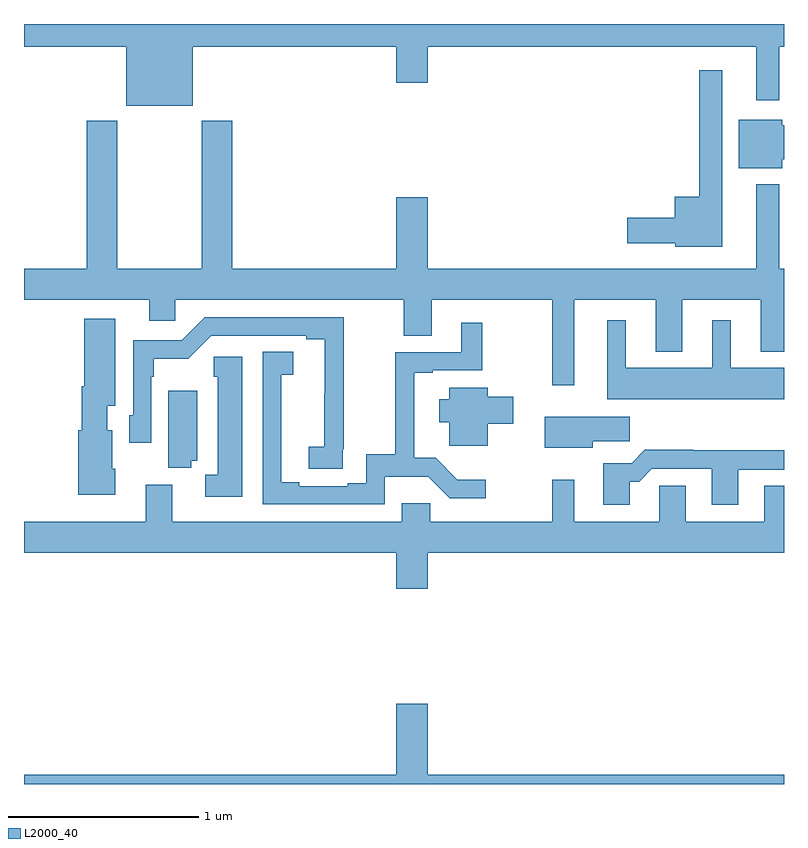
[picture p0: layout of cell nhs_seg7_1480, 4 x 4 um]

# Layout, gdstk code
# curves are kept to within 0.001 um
import gdstk
lib = gdstk.Library(unit=1e-6, precision=1e-09)
def P(c, l, *ps):  # polygons
    for p in ps: c.add(gdstk.Polygon(p, *l))
L2000_40 = (2000, 40)

nhs_seg7_1480 = lib.new_cell('nhs_seg7_1480')
P(nhs_seg7_1480, L2000_40, [(211,1069.88),(211.538,1069.88),(211.538,1069.571),(211.888,1069.571),(211.888,1069.88),(212.96,1069.88),(212.96,1069.692),(213.124,1069.692),(213.124,1069.88),(214.853,1069.88),(214.853,1069.599),(214.975,1069.599),(214.975,1069.88),(215,1069.88),(215,1070),(211,1070)],
  [(214.675,1069.756),(214.554,1069.756),(214.554,1069.09),(214.424,1069.09),(214.424,1068.98),(214.176,1068.98),(214.176,1068.845),(214.428,1068.845),(214.428,1068.827),(214.675,1068.827)],
  [(214.99,1069.289),(215,1069.289),(215,1069.467),(214.99,1069.467),(214.99,1069.495),(214.763,1069.495),(214.763,1069.241),(214.99,1069.241)],
  [(213.895,1068.548),(214.325,1068.548),(214.325,1068.275),(214.465,1068.275),(214.465,1068.548),(214.877,1068.548),(214.877,1068.275),(215,1068.275),(215,1068.712),(214.975,1068.712),(214.975,1069.156),(214.853,1069.156),(214.853,1068.712),(213.124,1068.712),(213.124,1069.087),(212.96,1069.087),(212.96,1068.712),(212.096,1068.712),(212.096,1069.492),(211.936,1069.492),(211.936,1068.712),(211.491,1068.712),(211.491,1069.492),(211.331,1069.492),(211.331,1068.712),(211,1068.712),(211,1068.548),(211.658,1068.548),(211.658,1068.438),(211.797,1068.438),(211.797,1068.548),(212.998,1068.548),(212.998,1068.358),(213.145,1068.358),(213.145,1068.548),(213.781,1068.548),(213.781,1068.099),(213.895,1068.099)],
  [(212.678,1067.761),(212.684,1067.761),(212.684,1068.456),(211.95,1068.456),(211.83,1068.336),(211.575,1068.336),(211.575,1067.94),(211.554,1067.94),(211.554,1067.796),(211.671,1067.796),(211.671,1068.143),(211.684,1068.143),(211.684,1068.239),(211.865,1068.239),(211.986,1068.36),(212.486,1068.36),(212.486,1068.34),(212.582,1068.34),(212.581,1067.774),(212.499,1067.774),(212.499,1067.659),(212.678,1067.659)],
  [(211.48,1067.658),(211.464,1067.658),(211.464,1067.862),(211.438,1067.862),(211.438,1067.99),(211.48,1067.99),(211.48,1068.448),(211.316,1068.448),(211.316,1068.094),(211.304,1068.094),(211.304,1067.862),(211.286,1067.862),(211.286,1067.522),(211.48,1067.522)],
  [(215,1068.19),(214.72,1068.19),(214.72,1068.442),(214.622,1068.442),(214.622,1068.19),(214.168,1068.19),(214.168,1068.442),(214.07,1068.442),(214.07,1068.026),(215,1068.026)],
  [(212.898,1067.618),(213.127,1067.618),(213.24,1067.505),(213.43,1067.505),(213.43,1067.602),(213.281,1067.602),(213.166,1067.717),(213.055,1067.717),(213.055,1068.165),(213.151,1068.165),(213.151,1068.177),(213.412,1068.177),(213.412,1068.427),(213.302,1068.427),(213.302,1068.273),(212.953,1068.273),(212.953,1067.735),(212.802,1067.735),(212.802,1067.582),(212.705,1067.582),(212.705,1067.568),(212.449,1067.568),(212.449,1067.588),(212.353,1067.588),(212.353,1067.851),(212.355,1067.851),(212.355,1068.155),(212.416,1068.155),(212.416,1068.275),(212.256,1068.275),(212.256,1067.472),(212.898,1067.472)],
  [(212.149,1068.25),(211.999,1068.25),(211.999,1068.144),(212.021,1068.144),(212.021,1067.628),(211.953,1067.628),(211.953,1067.513),(212.149,1067.513)],
  [(213.442,1067.896),(213.574,1067.896),(213.574,1068.038),(213.442,1068.038),(213.442,1068.085),(213.239,1068.085),(213.239,1068.025),(213.185,1068.025),(213.185,1067.903),(213.239,1067.903),(213.239,1067.78),(213.442,1067.78)],
  [(211.88,1067.702),(211.912,1067.702),(211.912,1068.07),(211.76,1068.07),(211.76,1067.665),(211.88,1067.665)],
  [(213.994,1067.803),(214.189,1067.803),(214.189,1067.932),(213.74,1067.932),(213.74,1067.771),(213.994,1067.771)],
  [(214.189,1067.591),(214.238,1067.591),(214.305,1067.658),(214.619,1067.658),(214.619,1067.469),(214.759,1067.469),(214.759,1067.655),(215,1067.655),(215,1067.756),(214.523,1067.756),(214.523,1067.759),(214.268,1067.759),(214.198,1067.689),(214.049,1067.689),(214.049,1067.469),(214.189,1067.469)],
  [(213.124,1067.216),(215,1067.216),(215,1067.57),(214.895,1067.57),(214.895,1067.38),(214.483,1067.38),(214.483,1067.57),(214.344,1067.57),(214.344,1067.38),(213.895,1067.38),(213.895,1067.602),(213.781,1067.602),(213.781,1067.38),(213.139,1067.38),(213.139,1067.478),(212.987,1067.478),(212.987,1067.38),(211.78,1067.38),(211.78,1067.575),(211.64,1067.575),(211.64,1067.38),(211,1067.38),(211,1067.216),(212.96,1067.216),(212.96,1067.028),(213.124,1067.028)],
  [(215,1066.048),(213.124,1066.048),(213.124,1066.423),(212.96,1066.423),(212.96,1066.048),(211,1066.048),(211,1066),(215,1066)])

lib.write_gds('nhs_seg7_1480.gds')
